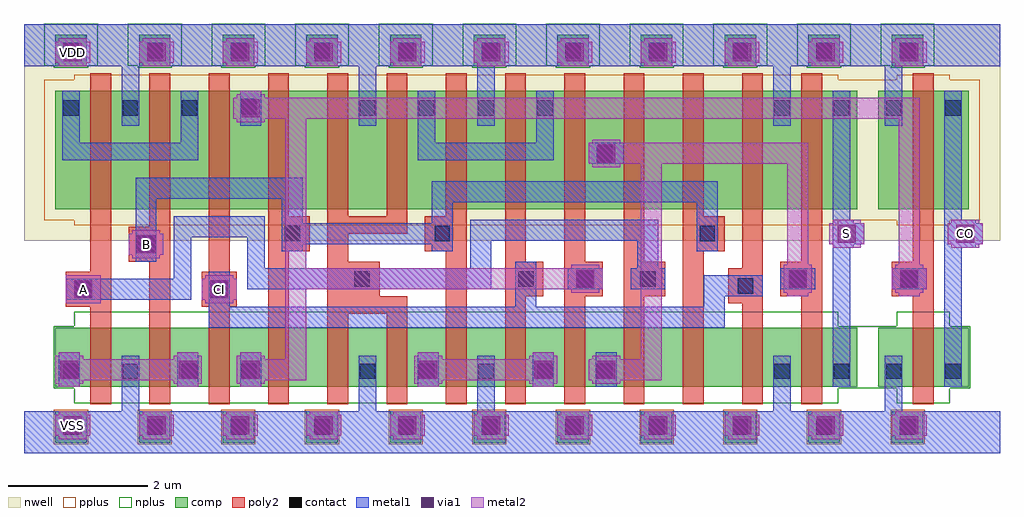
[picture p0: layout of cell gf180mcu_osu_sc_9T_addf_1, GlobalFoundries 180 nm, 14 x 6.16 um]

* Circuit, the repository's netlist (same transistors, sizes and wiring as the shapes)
* Copyright 2022 Google LLC
*
* Licensed under the Apache License, Version 2.0 (the "License");
* you may not use this file except in compliance with the License.
* You may obtain a copy of the License at
*
*      http://www.apache.org/licenses/LICENSE-2.0
*
* Unless required by applicable law or agreed to in writing, software
* distributed under the License is distributed on an "AS IS" BASIS,
* WITHOUT WARRANTIES OR CONDITIONS OF ANY KIND, either express or implied.
* See the License for the specific language governing permissions and
* limitations under the License.

.option scale=0.05u

.subckt gf180mcu_osu_sc_9T_addf_1 A B CI S CO
X0 a_9_70 B VDD VDD pmos_3p3 w=34 l=6
X1 a_110_70 A VDD VDD pmos_3p3 w=34 l=6
X2 S a_161_19 VSS VSS nmos_3p3 w=17 l=6
X3 S a_161_19 VDD VDD pmos_3p3 w=34 l=6
X4 a_195_19 B a_178_19 VSS nmos_3p3 w=17 l=6
X5 a_178_19 A a_161_19 VSS nmos_3p3 w=17 l=6
X6 a_195_70 B a_178_70 VDD pmos_3p3 w=34 l=6
X7 a_110_19 CI VSS VSS nmos_3p3 w=17 l=6
X8 a_178_70 A a_161_19 VDD pmos_3p3 w=34 l=6
X9 a_59_19 CI a_9_19 VSS nmos_3p3 w=17 l=6
X10 VSS B a_110_19 VSS nmos_3p3 w=17 l=6
X11 a_110_70 CI VDD VDD pmos_3p3 w=34 l=6
X12 VSS A a_9_19 VSS nmos_3p3 w=17 l=6
X13 a_59_19 CI a_9_70 VDD pmos_3p3 w=34 l=6
X14 VDD B a_110_70 VDD pmos_3p3 w=34 l=6
X15 CO a_59_19 VSS VSS nmos_3p3 w=17 l=6
X16 VDD A a_9_70 VDD pmos_3p3 w=34 l=6
X17 VSS CI a_195_19 VSS nmos_3p3 w=17 l=6
X18 CO a_59_19 VDD VDD pmos_3p3 w=34 l=6
X19 VDD CI a_195_70 VDD pmos_3p3 w=34 l=6
X20 VSS A a_76_19 VSS nmos_3p3 w=17 l=6
X21 a_161_19 a_59_19 a_110_19 VSS nmos_3p3 w=17 l=6
X22 a_76_19 B a_59_19 VSS nmos_3p3 w=17 l=6
X23 VDD A a_76_70 VDD pmos_3p3 w=34 l=6
X24 a_161_19 a_59_19 a_110_70 VDD pmos_3p3 w=34 l=6
X25 a_9_19 B VSS VSS nmos_3p3 w=17 l=6
X26 a_110_19 A VSS VSS nmos_3p3 w=17 l=6
X27 a_76_70 B a_59_19 VDD pmos_3p3 w=34 l=6
.ends

** hspice subcircuit dictionary

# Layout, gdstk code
import gdstk
lib = gdstk.Library(unit=1e-6, precision=1e-09)
def R(c, l, rs):  # rectangles x0, y0, x1, y1
    for r in rs: c.add(gdstk.rectangle(r[:2], r[2:], *l))
def A(c, l, x, y, w, h, nx, ny, dx, dy):  # array of equal rectangles
    R(c, l, [(x+i*dx, y+j*dy, x+i*dx+w, y+j*dy+h) for i in range(nx) for j in range(ny)])
nwell = (21, 0)
comp = (22, 0)
poly2 = (30, 0)
pplus = (31, 0)
nplus = (32, 0)
contact = (33, 0)
metal1 = (34, 0)
via1 = (35, 0)
metal2 = (36, 0)

gf180mcu_osu_sc_9t_addf_ = lib.new_cell('gf180mcu_osu_sc_9T_addf_1')
R(gf180mcu_osu_sc_9t_addf_, nwell, [(0,3.05,14,6.15)])
A(gf180mcu_osu_sc_9t_addf_, comp, 0.45, 0.15, 0.45, 0.45, 11, 2, 1.2, 5.4)
R(gf180mcu_osu_sc_9t_addf_, comp, [(0.45,0.95,11.95,1.8), (12.25,0.95,13.55,1.8), (0.45,3.5,11.95,5.2), (12.25,3.5,13.55,5.2)])
A(gf180mcu_osu_sc_9t_addf_, poly2, 6.9, 0.7, 0.3, 1.55, 3, 1, 0.85, 0)
A(gf180mcu_osu_sc_9t_addf_, poly2, 6.9, 2.75, 0.3, 2.7, 3, 1, 0.85, 0)
A(gf180mcu_osu_sc_9t_addf_, poly2, 3.5, 3.4, 0.3, 2.05, 4, 1, 0.85, 0)
R(gf180mcu_osu_sc_9t_addf_, poly2, [(0.95,0.7,1.25,2.1), (1.8,0.7,2.1,2.75), (2.65,0.7,2.95,2.1), (3.5,0.7,3.8,2.9), (4.35,0.7,4.65,2), (5.2,0.7,5.5,2), (6.05,0.7,6.35,2.9), (9.45,0.7,9.75,2.9), (10.3,0.7,10.6,2.15), (11.15,0.7,11.45,2.25), (12.75,0.7,13.05,2.25), (4.35,2,5.5,2.25), (0.6,2.1,1.25,2.6), (2.55,2.1,3.05,2.6), (10.1,2.15,10.6,2.65), (4.35,2.25,5.1,2.75), (6.9,2.25,7.45,2.75), (7.75,2.25,8.3,2.75), (8.6,2.25,9.2,2.75), (10.85,2.25,11.45,2.75), (12.45,2.25,13.05,2.75), (0.95,2.6,1.25,5.45), (2.65,2.6,2.95,5.45), (10.3,2.65,10.6,5.45), (1.5,2.75,2.1,3.25), (4.35,2.75,4.65,3.15), (11.15,2.75,11.45,5.45), (12.75,2.75,13.05,5.45), (3.5,2.9,4.1,3.4), (5.75,2.9,6.35,3.4), (9.45,2.9,10.05,3.4), (4.35,3.15,5.5,3.4), (1.8,3.25,2.1,5.45), (9.45,3.4,9.75,5.45)])
A(gf180mcu_osu_sc_9t_addf_, pplus, 0.43, 0.13, 0.49, 0.49, 11, 1, 1.2, 0)
R(gf180mcu_osu_sc_9t_addf_, pplus, [(0.72,3.27,11.68,3.34), (12.52,3.27,13.28,3.34), (0.29,3.34,13.71,5.36), (0.72,5.36,11.68,5.43), (12.52,5.36,13.28,5.43)])
A(gf180mcu_osu_sc_9t_addf_, nplus, 0.43, 5.53, 0.49, 0.03, 11, 1, 1.2, 0)
A(gf180mcu_osu_sc_9t_addf_, nplus, 0.29, 5.56, 0.77, 0.6, 11, 1, 1.2, 0)
R(gf180mcu_osu_sc_9t_addf_, nplus, [(0.72,0.72,11.68,0.93), (12.52,0.72,13.28,0.93), (0.43,0.93,13.57,1.82), (0.72,1.82,11.68,2.03), (12.52,1.82,13.28,2.03)])
A(gf180mcu_osu_sc_9t_addf_, contact, 0.565, 0.265, 0.22, 0.22, 11, 2, 1.2, 5.4)
A(gf180mcu_osu_sc_9t_addf_, contact, 0.565, 1.065, 0.22, 0.22, 4, 1, 0.85, 0)
A(gf180mcu_osu_sc_9t_addf_, contact, 4.815, 1.065, 0.22, 0.22, 5, 1, 0.85, 0)
A(gf180mcu_osu_sc_9t_addf_, contact, 0.565, 4.84, 0.22, 0.22, 3, 1, 0.85, 0)
A(gf180mcu_osu_sc_9t_addf_, contact, 4.815, 4.84, 0.22, 0.22, 4, 1, 0.85, 0)
R(gf180mcu_osu_sc_9t_addf_, contact, [(10.765,1.065,10.985,1.285), (11.615,1.065,11.835,1.285), (12.365,1.065,12.585,1.285), (13.215,1.065,13.435,1.285), (0.74,2.24,0.96,2.46), (2.69,2.24,2.91,2.46), (10.24,2.29,10.46,2.51), (4.74,2.39,4.96,2.61), (7.09,2.39,7.31,2.61), (7.94,2.39,8.16,2.61), (8.84,2.39,9.06,2.61), (10.99,2.39,11.21,2.61), (12.59,2.39,12.81,2.61), (1.64,2.89,1.86,3.11), (3.74,3.04,3.96,3.26), (5.89,3.04,6.11,3.26), (9.69,3.04,9.91,3.26), (8.215,4.19,8.435,4.41), (10.765,4.84,10.985,5.06), (11.615,4.84,11.835,5.06), (12.365,4.84,12.585,5.06), (13.215,4.84,13.435,5.06), (3.115,4.865,3.335,5.085)])
R(gf180mcu_osu_sc_9t_addf_, metal1, [(0,0,14,0.6), (1.4,0.6,1.65,1.4), (4.8,0.6,5.05,1.4), (6.5,0.6,6.75,1.4), (10.75,0.6,11,1.4), (12.35,0.6,12.6,1.4), (0.5,0.95,0.8,1.45), (2.2,0.95,2.5,1.45), (3.1,0.95,3.4,1.45), (5.65,0.95,5.95,1.45), (7.3,0.95,7.6,1.45), (8.2,0.95,8.5,1.45), (11.6,0.95,11.85,2.95), (13.2,0.95,13.45,2.95), (2.65,1.8,10.05,2.1), (2.65,2.1,2.95,2.6), (7.05,2.1,7.35,2.75), (9.75,2.1,10.05,2.25), (0.6,2.2,2.4,2.5), (9.75,2.25,10.6,2.55), (3.2,2.35,6.7,2.65), (7.8,2.35,8.3,2.65), (8.7,2.35,9.2,2.65), (10.85,2.35,11.35,2.65), (12.45,2.35,12.95,2.65), (2.15,2.5,2.4,3.1), (3.2,2.65,3.45,3.1), (6.4,2.65,6.7,3.05), (8.8,2.65,9.1,3.05), (1.6,2.75,1.9,3.65), (3.7,2.9,4,3), (5.85,2.9,6.15,3), (9.65,2.9,9.95,3.6), (11.6,2.95,11.9,3), (13.2,2.95,13.65,3), (3.7,3,6.15,3.3), (11.6,3,12.05,3.3), (13.2,3,13.75,3.3), (6.4,3.05,9.1,3.35), (2.15,3.1,3.45,3.4), (3.7,3.3,4,3.65), (5.85,3.3,6.15,3.6), (11.6,3.3,11.9,3.35), (13.2,3.3,13.65,3.35), (11.6,3.35,11.85,5.2), (13.2,3.35,13.45,5.2), (5.85,3.6,9.95,3.9), (1.6,3.65,4,3.95), (8.1,4.15,8.6,4.45), (0.55,4.2,2.5,4.45), (5.65,4.2,7.6,4.45), (0.55,4.45,0.8,5.2), (2.25,4.45,2.5,5.2), (5.65,4.45,5.9,5.2), (7.35,4.45,7.6,5.2), (1.4,4.7,1.65,5.55), (3.1,4.7,3.4,5.2), (4.8,4.7,5.05,5.55), (6.5,4.7,6.75,5.55), (10.75,4.7,11,5.55), (12.35,4.7,12.6,5.55), (0,5.55,14,6.15)])
A(gf180mcu_osu_sc_9t_addf_, via1, 0.57, 0.27, 0.26, 0.26, 11, 2, 1.2, 5.35)
R(gf180mcu_osu_sc_9t_addf_, via1, [(0.52,1.07,0.78,1.33), (2.22,1.07,2.48,1.33), (3.12,1.07,3.38,1.33), (5.67,1.07,5.93,1.33), (7.32,1.07,7.58,1.33), (8.22,1.07,8.48,1.33), (0.72,2.22,0.98,2.48), (2.67,2.22,2.93,2.48), (7.92,2.37,8.18,2.63), (10.97,2.37,11.23,2.63), (12.57,2.37,12.83,2.63), (1.62,2.87,1.88,3.13), (11.67,3.02,11.93,3.28), (13.37,3.02,13.63,3.28), (8.22,4.17,8.48,4.43), (3.12,4.82,3.38,5.08)])
A(gf180mcu_osu_sc_9t_addf_, metal2, 0.5, 0.2, 0.4, 0.05, 11, 2, 1.2, 0.35)
A(gf180mcu_osu_sc_9t_addf_, metal2, 0.45, 0.25, 0.5, 0.3, 11, 2, 1.2, 5.35)
A(gf180mcu_osu_sc_9t_addf_, metal2, 0.5, 5.55, 0.4, 0.05, 11, 2, 1.2, 0.35)
R(gf180mcu_osu_sc_9t_addf_, metal2, [(0.5,0.95,0.8,1), (2.2,0.95,2.5,1), (3.1,0.95,3.4,1), (5.65,0.95,5.95,1), (7.3,0.95,7.6,1), (0.45,1,0.85,1.05), (2.15,1,2.55,1.05), (3.05,1,3.45,1.05), (5.6,1,6,1.05), (7.25,1,7.65,1.05), (8.15,1,8.55,1.05), (0.45,1.05,2.55,1.35), (3.05,1.05,4.05,1.35), (5.6,1.05,7.65,1.35), (8.1,1.05,9.15,1.35), (0.45,1.35,0.85,1.4), (2.15,1.35,2.55,1.4), (3.05,1.35,3.45,1.4), (3.75,1.35,4.05,2.35), (5.6,1.35,6,1.4), (7.25,1.35,7.65,1.4), (8.15,1.35,8.55,1.4), (8.85,1.35,9.15,4.15), (0.5,1.4,0.8,1.45), (2.2,1.4,2.5,1.45), (3.1,1.4,3.4,1.45), (5.65,1.4,5.95,1.45), (7.3,1.4,7.6,1.45), (0.6,2.15,1.1,2.55), (2.6,2.15,3,2.2), (2.55,2.2,3.05,2.5), (10.95,2.25,11.25,2.3), (12.55,2.25,12.85,2.3), (7.85,2.3,8.25,2.35), (10.9,2.3,11.3,2.7), (12.5,2.3,12.9,2.35), (3.75,2.35,8.3,2.65), (12.45,2.35,12.95,2.65), (2.6,2.5,3,2.55), (3.75,2.65,4.05,4.8), (7.85,2.65,8.25,2.7), (12.5,2.65,12.9,2.7), (10.95,2.7,11.25,4.15), (12.55,2.7,12.85,4.8), (1.55,2.8,1.95,2.85), (1.5,2.85,2,3.15), (11.6,2.95,12,3), (13.3,2.95,13.7,3), (11.55,3,12.05,3.3), (13.25,3,13.75,3.3), (1.55,3.15,1.95,3.2), (11.6,3.3,12,3.35), (13.3,3.3,13.7,3.35), (8.15,4.1,8.55,4.15), (8.1,4.15,11.25,4.45), (8.15,4.45,8.55,4.5), (3.05,4.75,3.45,4.8), (3,4.8,12.85,5.1), (3.05,5.1,3.45,5.15), (3.1,5.15,3.4,5.2)])
gf180mcu_osu_sc_9t_addf_.add(gdstk.Label('VDD', (0.7,5.75), layer=36, texttype=0))
gf180mcu_osu_sc_9t_addf_.add(gdstk.Label('VSS', (0.7,0.4), layer=36, texttype=0))
gf180mcu_osu_sc_9t_addf_.add(gdstk.Label('A', (0.85,2.35), layer=36, texttype=10))
gf180mcu_osu_sc_9t_addf_.add(gdstk.Label('B', (1.75,3), layer=36, texttype=10))
gf180mcu_osu_sc_9t_addf_.add(gdstk.Label('CI', (2.8,2.35), layer=36, texttype=10))
gf180mcu_osu_sc_9t_addf_.add(gdstk.Label('S', (11.8,3.15), layer=36, texttype=10))
gf180mcu_osu_sc_9t_addf_.add(gdstk.Label('CO', (13.5,3.15), layer=36, texttype=10))

lib.write_gds('gf180mcu_osu_sc_9T_addf_1.gds')
